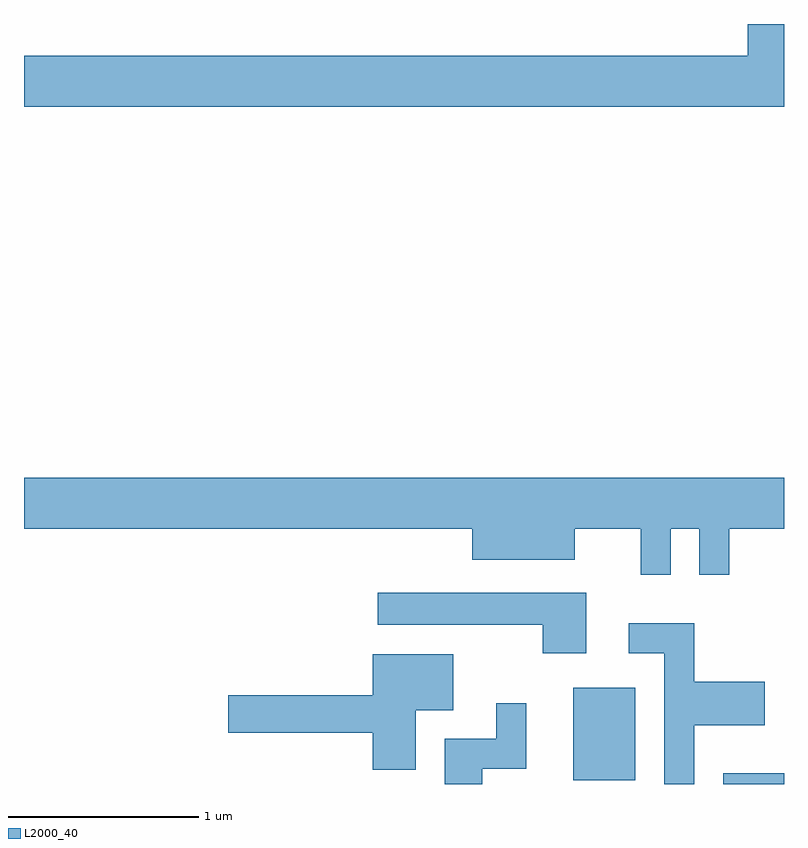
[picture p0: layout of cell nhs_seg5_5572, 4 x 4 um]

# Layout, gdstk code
import gdstk
lib = gdstk.Library(unit=1e-6, precision=1e-09)
def R(c, l, rs):  # rectangles x0, y0, x1, y1
    for r in rs: c.add(gdstk.rectangle(r[:2], r[2:], *l))
def P(c, l, *ps):  # polygons
    for p in ps: c.add(gdstk.Polygon(p, *l))
L2000_40 = (2000, 40)

nhs_seg5_5572 = lib.new_cell('nhs_seg5_5572')
R(nhs_seg5_5572, L2000_40, [(353.291,1502.072,353.611,1502.129), (352.501,1502.091,352.829,1502.579)])
P(nhs_seg5_5572, L2000_40, [(353.611,1506.072),(353.421,1506.072),(353.421,1505.904),(349.611,1505.904),(349.611,1505.636),(353.611,1505.636)],
  [(353.014,1503.416),(353.166,1503.416),(353.166,1503.173),(353.324,1503.173),(353.324,1503.416),(353.611,1503.416),(353.611,1503.684),(349.611,1503.684),(349.611,1503.416),(351.971,1503.416),(351.971,1503.251),(352.509,1503.251),(352.509,1503.416),(352.856,1503.416),(352.856,1503.173),(353.014,1503.173)],
  [(352.569,1503.079),(351.473,1503.079),(351.473,1502.911),(352.341,1502.911),(352.341,1502.761),(352.569,1502.761)],
  [(353.139,1502.381),(353.509,1502.381),(353.509,1502.609),(353.139,1502.609),(353.139,1502.919),(352.793,1502.919),(352.793,1502.761),(352.981,1502.761),(352.981,1502.072),(353.139,1502.072)],
  [(351.674,1502.461),(351.869,1502.461),(351.869,1502.754),(351.446,1502.754),(351.446,1502.539),(350.686,1502.539),(350.686,1502.341),(351.446,1502.341),(351.446,1502.146),(351.674,1502.146)],
  [(352.024,1502.151),(352.254,1502.151),(352.254,1502.498),(352.096,1502.498),(352.096,1502.309),(351.826,1502.309),(351.826,1502.072),(352.024,1502.072)])

lib.write_gds('nhs_seg5_5572.gds')
